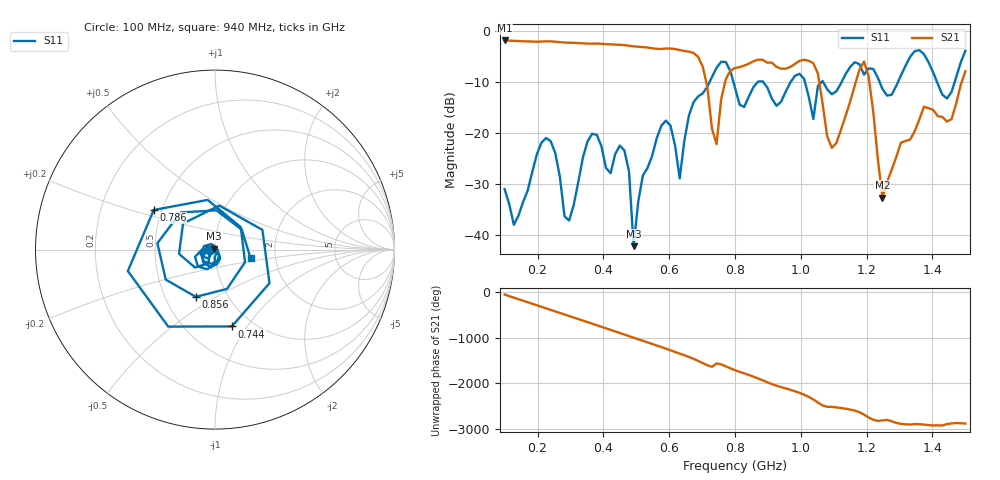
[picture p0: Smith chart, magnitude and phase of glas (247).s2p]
! NanoVNA-App
! Date: 2025-09-25 15:57:23
! Start: 100MHz Stop: 1,5GHz Points: 101
! S-Parameter data: F S11 S21 S12 S22
# Hz S RI R 50
!  Frequency  S11_Real  S11_Imag  S21_Real  S21_Imag  S12_Real  S12_Imag  S22_Real  S22_Imag
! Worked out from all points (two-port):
!   101 points, 100 MHz to 1.5 GHz, reference 50 ohm
!   highest |S21| = -1.80 dB at 100 MHz (marker M1); lowest = -32.6 dB at 1.248 GHz (marker M2)
!   |S21| within 3 dB of the highest: start of sweep to 684.3 MHz
!   lowest |S11| = -42.1 dB at 492 MHz (marker M3), VSWR 1.02, Z = 49.5 + j0.571 ohm
!   |S11| at or under -10 dB: start of sweep to 722.4 MHz; 795.4 MHz to 868.1 MHz (72.69 MHz wide, 8.74 % of centre); 886.2 MHz to 968.4 MHz (82.24 MHz wide, 8.87 % of centre) (the widest 3 of 7)
!   S12 and S22 are empty: the file has one direction only
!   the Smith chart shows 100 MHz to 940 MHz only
!   S11 on the Smith chart (normalised r, x): 100 MHz: 0.95, -0.01; 744 MHz: 0.80, -0.85; 786 MHz: 0.45, +0.24; 856 MHz: 0.71, -0.41; 940 MHz: 1.49, -0.15
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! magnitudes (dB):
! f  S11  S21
! 100 MHz  -30.9  -1.8
! 128 MHz  -37.9  -1.9
! 226 MHz  -20.9  -2.0
! 296 MHz  -37.1  -2.2
! 338 MHz  -24.7  -2.4
! 464 MHz  -23.4  -2.7
! 492 MHz  -42.1  -3.0
! 576 MHz  -18.5  -3.5
! 632 MHz  -28.8  -3.7
! 702 MHz  -12.2  -6.9
! 744 MHz  -7.2  -22.1
! 786 MHz  -7.8  -7.7
! 800 MHz  -11.1  -7.2
! 856 MHz  -10.9  -5.9
! 940 MHz  -13.8  -7.3
! 996 MHz  -8.3  -5.8
! 1.038 GHz  -17.2  -6.2
! 1.094 GHz  -12.3  -22.8
! 1.192 GHz  -8.5  -5.9
! 1.248 GHz  -11.3  -32.6
! 1.276 GHz  -12.4  -27.2
! 1.5 GHz  -3.8  -7.8
